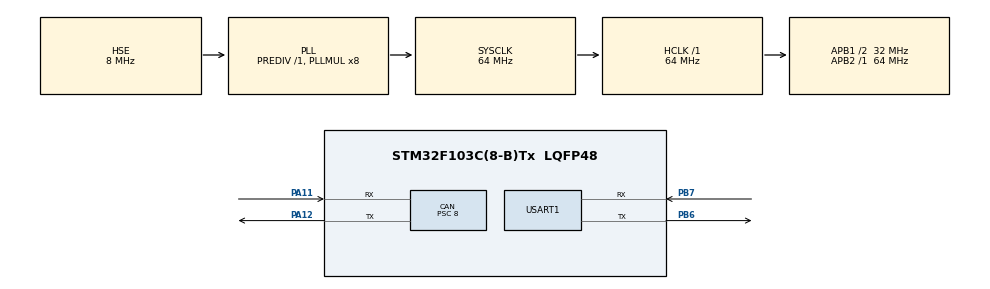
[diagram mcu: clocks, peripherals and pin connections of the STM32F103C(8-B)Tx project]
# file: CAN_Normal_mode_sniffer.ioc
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CAN.ABOM=ENABLE
CAN.BS1=CAN_BS1_11TQ
CAN.BS2=CAN_BS2_4TQ
CAN.CalculateBaudRate=250000
CAN.CalculateTimeBit=4000
CAN.CalculateTimeQuantum=250.0
CAN.Prescaler=8
CAN.TXFP=ENABLE
Mcu.Family=STM32F1
Mcu.Name=STM32F103C(8-B)Tx
Mcu.Package=LQFP48
NVIC.CAN1_SCE_IRQn=true\:0\:0\:false\:false\:true\:true\:true\:true
NVIC.PriorityGroup=NVIC_PRIORITYGROUP_4
NVIC.USB_LP_CAN1_RX0_IRQn=true\:0\:0\:false\:false\:true\:true\:true\:true
PA11.Mode=CAN_Activate
PA11.Signal=CAN_RX
PA12.Mode=CAN_Activate
PA12.Signal=CAN_TX
PB6.Mode=Asynchronous
PB6.Signal=USART1_TX
PB7.Mode=Asynchronous
PB7.Signal=USART1_RX
PD0-OSC_IN.Mode=HSE-External-Oscillator
PD0-OSC_IN.Signal=RCC_OSC_IN
PD1-OSC_OUT.Mode=HSE-External-Oscillator
PD1-OSC_OUT.Signal=RCC_OSC_OUT
ProjectManager.HeapSize=0x200
ProjectManager.StackSize=0x400
ProjectManager.TargetToolchain=STM32CubeIDE
RCC.AHBFreq_Value=64000000
RCC.APB1CLKDivider=RCC_HCLK_DIV2
RCC.APB1Freq_Value=32000000
RCC.APB1TimFreq_Value=64000000
RCC.APB2Freq_Value=64000000
RCC.APB2TimFreq_Value=64000000
RCC.HCLKFreq_Value=64000000
RCC.PLLMUL=RCC_PLL_MUL8
RCC.PLLSourceVirtual=RCC_PLLSOURCE_HSE
RCC.SYSCLKFreq_VALUE=64000000
RCC.SYSCLKSource=RCC_SYSCLKSOURCE_PLLCLK
RCC.USBFreq_Value=64000000
USART1.VirtualMode=VM_ASYNC
board=custom

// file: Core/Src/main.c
/* USER CODE BEGIN Header */
/**
  ******************************************************************************
  * @file           : main.c
  * @brief          : Main program body
  ******************************************************************************
  * @attention
  *
  * Copyright (c) 2023 STMicroelectronics.
  * All rights reserved.
  *
  * This software is licensed under terms that can be found in the LICENSE file
  * in the root directory of this software component.
  * If no LICENSE file comes with this software, it is provided AS-IS.
  *
  ******************************************************************************
  */
/* USER CODE END Header */
#include "main.h"

/* USER CODE BEGIN Includes */
#include <string.h>
#include <stdio.h>
/* USER CODE END Includes */

CAN_HandleTypeDef hcan;

UART_HandleTypeDef huart1;

/* USER CODE BEGIN PV */
CAN_RxHeaderTypeDef RxHeader;
uint8_t RxData[8] = {0,};
uint32_t TxMailbox = 0;

uint8_t trans_str[30];
/* USER CODE END PV */

void SystemClock_Config(void);
static void MX_GPIO_Init(void);
static void MX_CAN_Init(void);
static void MX_USART1_UART_Init(void);

int main(void)
{

  /* MCU Configuration--------------------------------------------------------*/

  /* Reset of all peripherals, Initializes the Flash interface and the Systick. */
  HAL_Init();

  /* Configure the system clock */
  SystemClock_Config();

  /* Initialize all configured peripherals */
  MX_GPIO_Init();
  MX_CAN_Init();
  MX_USART1_UART_Init();
  /* USER CODE BEGIN 2 */
  HAL_CAN_Start(&hcan);
  HAL_CAN_ActivateNotification(&hcan, CAN_IT_RX_FIFO0_MSG_PENDING | CAN_IT_ERROR | CAN_IT_BUSOFF | CAN_IT_LAST_ERROR_CODE);

  /* USER CODE END 2 */

  /* Infinite loop */
  while (1)
  {

  }
}

void SystemClock_Config(void)
{
  RCC_OscInitTypeDef RCC_OscInitStruct = {0};
  RCC_ClkInitTypeDef RCC_ClkInitStruct = {0};

  /** Initializes the RCC Oscillators according to the specified parameters
  * in the RCC_OscInitTypeDef structure.
  */
  RCC_OscInitStruct.OscillatorType = RCC_OSCILLATORTYPE_HSE;
  RCC_OscInitStruct.HSEState = RCC_HSE_ON;
  RCC_OscInitStruct.HSEPredivValue = RCC_HSE_PREDIV_DIV1;
  RCC_OscInitStruct.HSIState = RCC_HSI_ON;
  RCC_OscInitStruct.PLL.PLLState = RCC_PLL_ON;
  RCC_OscInitStruct.PLL.PLLSource = RCC_PLLSOURCE_HSE;
  RCC_OscInitStruct.PLL.PLLMUL = RCC_PLL_MUL8;
  if (HAL_RCC_OscConfig(&RCC_OscInitStruct) != HAL_OK)
  {
    Error_Handler();
  }

  /** Initializes the CPU, AHB and APB buses clocks
  */
  RCC_ClkInitStruct.ClockType = RCC_CLOCKTYPE_HCLK|RCC_CLOCKTYPE_SYSCLK
                              |RCC_CLOCKTYPE_PCLK1|RCC_CLOCKTYPE_PCLK2;
  RCC_ClkInitStruct.SYSCLKSource = RCC_SYSCLKSOURCE_PLLCLK;
  RCC_ClkInitStruct.AHBCLKDivider = RCC_SYSCLK_DIV1;
  RCC_ClkInitStruct.APB1CLKDivider = RCC_HCLK_DIV2;
  RCC_ClkInitStruct.APB2CLKDivider = RCC_HCLK_DIV1;

  if (HAL_RCC_ClockConfig(&RCC_ClkInitStruct, FLASH_LATENCY_2) != HAL_OK)
  {
    Error_Handler();
  }
}

static void MX_CAN_Init(void)
{

  /* USER CODE BEGIN CAN_Init 0 */
	CAN_FilterTypeDef  sFilterConfig;
  /* USER CODE END CAN_Init 0 */

  hcan.Instance = CAN1;
  hcan.Init.Prescaler = 8;
  hcan.Init.Mode = CAN_MODE_NORMAL;
  hcan.Init.SyncJumpWidth = CAN_SJW_1TQ;
  hcan.Init.TimeSeg1 = CAN_BS1_11TQ;
  hcan.Init.TimeSeg2 = CAN_BS2_4TQ;
  hcan.Init.TimeTriggeredMode = DISABLE;
  hcan.Init.AutoBusOff = ENABLE;
  hcan.Init.AutoWakeUp = DISABLE;
  hcan.Init.AutoRetransmission = DISABLE;
  hcan.Init.ReceiveFifoLocked = DISABLE;
  hcan.Init.TransmitFifoPriority = ENABLE;
  if (HAL_CAN_Init(&hcan) != HAL_OK)
  {
    Error_Handler();
  }
  /* USER CODE BEGIN CAN_Init 2 */
  sFilterConfig.FilterBank = 0;
  sFilterConfig.FilterMode = CAN_FILTERMODE_IDMASK;
  sFilterConfig.FilterScale = CAN_FILTERSCALE_32BIT;
  sFilterConfig.FilterIdHigh = 0x0000;
  sFilterConfig.FilterIdLow = 0x0000;
  sFilterConfig.FilterMaskIdHigh = 0x0000;
  sFilterConfig.FilterMaskIdLow = 0x0000;
  sFilterConfig.FilterFIFOAssignment = CAN_RX_FIFO0;
  sFilterConfig.FilterActivation = ENABLE;
  //sFilterConfig.SlaveStartFilterBank = 14;

  if(HAL_CAN_ConfigFilter(&hcan, &sFilterConfig) != HAL_OK)
  {
  Error_Handler();
  }
  /* USER CODE END CAN_Init 2 */

}

static void MX_USART1_UART_Init(void)
{

  huart1.Instance = USART1;
  huart1.Init.BaudRate = 115200;
  huart1.Init.WordLength = UART_WORDLENGTH_8B;
  huart1.Init.StopBits = UART_STOPBITS_1;
  huart1.Init.Parity = UART_PARITY_NONE;
  huart1.Init.Mode = UART_MODE_TX_RX;
  huart1.Init.HwFlowCtl = UART_HWCONTROL_NONE;
  huart1.Init.OverSampling = UART_OVERSAMPLING_16;
  if (HAL_UART_Init(&huart1) != HAL_OK)
  {
    Error_Handler();
  }

}

static void MX_GPIO_Init(void)
{

  /* GPIO Ports Clock Enable */
  __HAL_RCC_GPIOD_CLK_ENABLE();
  __HAL_RCC_GPIOA_CLK_ENABLE();
  __HAL_RCC_GPIOB_CLK_ENABLE();

}

/* USER CODE BEGIN 4 */

void HAL_CAN_RxFifo0MsgPendingCallback(CAN_HandleTypeDef *hcan)
{
    if(HAL_CAN_GetRxMessage(hcan, CAN_RX_FIFO0, &RxHeader, RxData) == HAL_OK)
    {
        HAL_GPIO_TogglePin(GPIOC, GPIO_PIN_13);
        HAL_UART_Transmit(&huart1, RxData, strlen((char *)RxData), 100);
    }
}

void HAL_CAN_ErrorCallback(CAN_HandleTypeDef *hcan)
{
    uint32_t er = HAL_CAN_GetError(hcan);
    sprintf((char *)trans_str,"ER CAN %lu %08lX\n\r", er, er);
    HAL_UART_Transmit(&huart1, trans_str, strlen((char *)trans_str), 100);

}
/* USER CODE END 4 */

void Error_Handler(void)
{
  __disable_irq();
  while (1)
  {
  }
}
